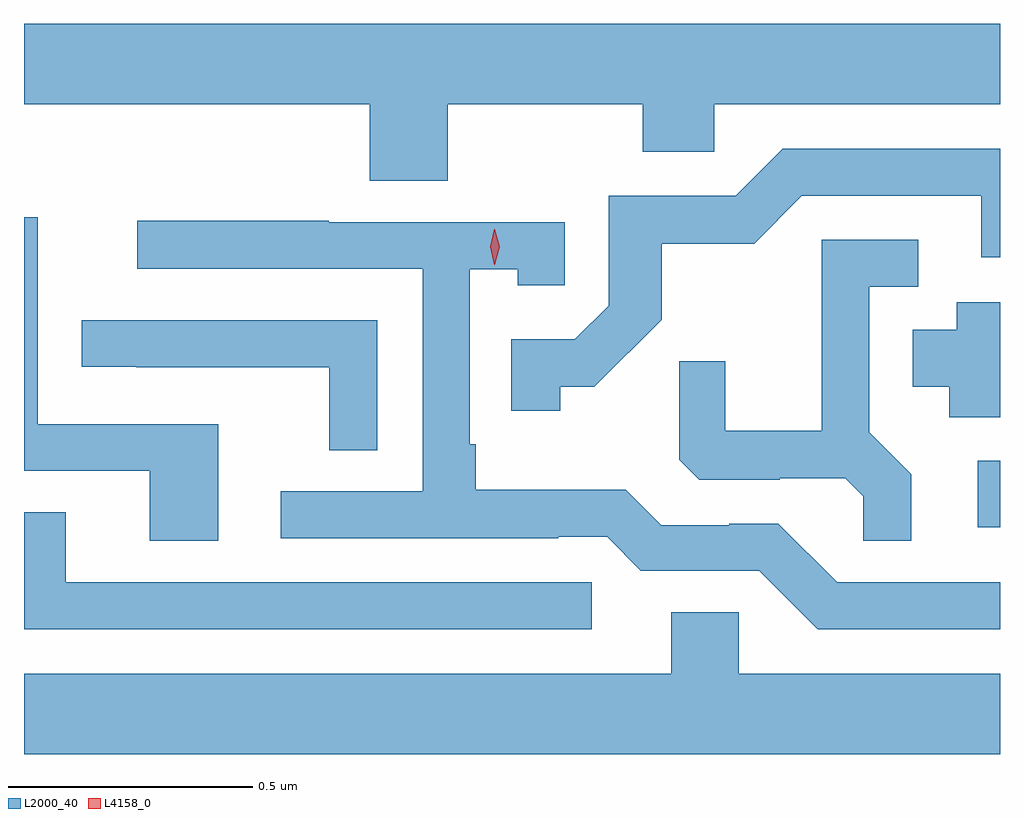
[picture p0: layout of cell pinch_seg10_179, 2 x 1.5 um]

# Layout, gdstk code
import gdstk
lib = gdstk.Library(unit=1e-6, precision=1e-09)
def R(c, l, rs):  # rectangles x0, y0, x1, y1
    for r in rs: c.add(gdstk.rectangle(r[:2], r[2:], *l))
def P(c, l, *ps):  # polygons
    for p in ps: c.add(gdstk.Polygon(p, *l))
L2000_40 = (2000, 40)
L4158_0 = (4158, 0)

pinch_seg10_179 = lib.new_cell('pinch_seg10_179')
R(pinch_seg10_179, L2000_40, [(684.195,1255.493,684.241,1255.629)])
P(pinch_seg10_179, L2000_40, [(683.109,1256.36),(683.509,1256.36),(683.509,1256.262),(683.655,1256.262),(683.655,1256.36),(684.241,1256.36),(684.241,1256.524),(682.241,1256.524),(682.241,1256.36),(682.949,1256.36),(682.949,1256.203),(683.109,1256.203)],
  [(683.34,1255.781),(683.41,1255.781),(683.548,1255.918),(683.548,1256.074),(683.737,1256.074),(683.835,1256.172),(684.203,1256.172),(684.203,1256.046),(684.241,1256.046),(684.241,1256.268),(683.796,1256.268),(683.7,1256.172),(683.439,1256.172),(683.439,1255.947),(683.37,1255.878),(683.239,1255.878),(683.239,1255.731),(683.34,1255.731)],
  [(682.639,1255.704),(682.269,1255.704),(682.269,1256.128),(682.241,1256.128),(682.241,1255.608),(682.499,1255.608),(682.499,1255.465),(682.639,1255.465)],
  [(684.241,1255.38),(683.907,1255.38),(683.787,1255.5),(683.686,1255.5),(683.686,1255.497),(683.547,1255.497),(683.474,1255.57),(683.167,1255.57),(683.167,1255.663),(683.154,1255.663),(683.154,1256.021),(683.253,1256.021),(683.253,1255.989),(683.349,1255.989),(683.349,1256.118),(682.865,1256.118),(682.865,1256.121),(682.473,1256.121),(682.473,1256.022),(683.058,1256.022),(683.058,1255.566),(682.767,1255.566),(682.767,1255.47),(683.336,1255.47),(683.336,1255.473),(683.436,1255.473),(683.505,1255.404),(683.748,1255.404),(683.868,1255.284),(684.241,1255.284)],
  [(684.059,1255.601),(683.973,1255.687),(683.973,1255.986),(684.073,1255.986),(684.073,1256.082),(683.876,1256.082),(683.876,1255.69),(683.678,1255.69),(683.678,1255.833),(683.584,1255.833),(683.584,1255.631),(683.625,1255.59),(683.79,1255.59),(683.79,1255.593),(683.924,1255.593),(683.961,1255.556),(683.961,1255.465),(684.059,1255.465)],
  [(684.241,1255.954),(684.152,1255.954),(684.152,1255.897),(684.062,1255.897),(684.062,1255.781),(684.137,1255.781),(684.137,1255.718),(684.241,1255.718)],
  [(682.965,1255.917),(682.359,1255.917),(682.359,1255.822),(682.471,1255.822),(682.471,1255.821),(682.867,1255.821),(682.867,1255.651),(682.965,1255.651)],
  [(683.404,1255.38),(682.327,1255.38),(682.327,1255.523),(682.241,1255.523),(682.241,1255.284),(683.404,1255.284)],
  [(684.241,1255.192),(683.706,1255.192),(683.706,1255.319),(683.567,1255.319),(683.567,1255.192),(682.241,1255.192),(682.241,1255.028),(684.241,1255.028)])
P(pinch_seg10_179, L4158_0, [(683.205,1256.031),(683.196,1256.067),(683.205,1256.103),(683.206,1256.103),(683.206,1256.103),(683.216,1256.067),(683.206,1256.031),(683.206,1256.031)])

lib.write_gds('pinch_seg10_179.gds')
